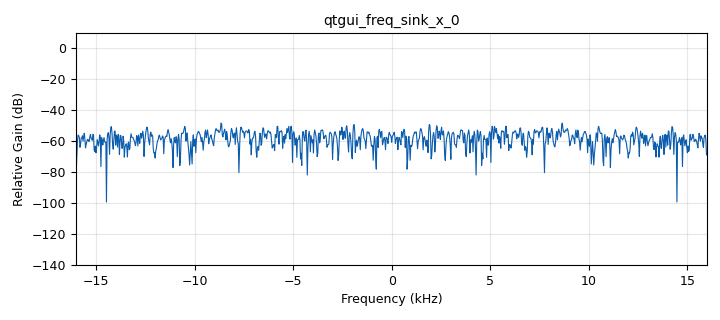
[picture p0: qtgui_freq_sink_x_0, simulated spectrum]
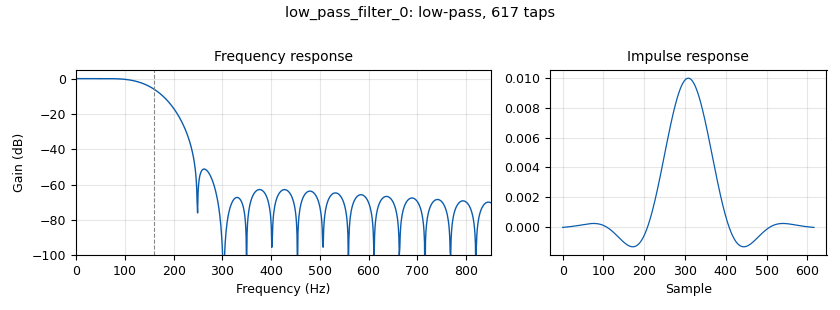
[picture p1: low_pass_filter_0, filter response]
options:
  parameters:
    generate_options: qt_gui
    id: allan_demo
    output_language: python
    title: Not titled yet
  states: {}

blocks:
- name: samp_rate
  id: variable
  parameters:
    value: '32000'
  states: {}
- name: allan_allan_0
  id: allan_allan
  parameters:
    allan_inc: '1000'
    allan_type: '0'
  states: {}
- name: analog_noise_source_x_0
  id: analog_noise_source_x
  parameters:
    amp: '1'
    noise_type: analog.GR_GAUSSIAN
    seed: '0'
    type: float
  states: {}
- name: blocks_throttle_0
  id: blocks_throttle
  parameters:
    samples_per_second: samp_rate
    type: float
  states: {}
- name: low_pass_filter_0
  id: low_pass_filter
  parameters:
    cutoff_freq: samp_rate/200
    decim: '100'
    gain: '1'
    samp_rate: samp_rate
    type: fir_filter_fff
    width: samp_rate/256
    win: window.WIN_HAMMING
  states: {}
- name: qtgui_freq_sink_x_0
  id: qtgui_freq_sink_x
  parameters:
    bw: samp_rate
    fc: '0'
    fftsize: '1024'
    type: float
  states: {}

connections:
- [analog_noise_source_x_0, '0', low_pass_filter_0, '0']
- [blocks_throttle_0, '0', allan_allan_0, '0']
- [low_pass_filter_0, '0', blocks_throttle_0, '0']
- [low_pass_filter_0, '0', qtgui_freq_sink_x_0, '0']

metadata:
  file_format: 1
  grc_version: 3.10.5.1
